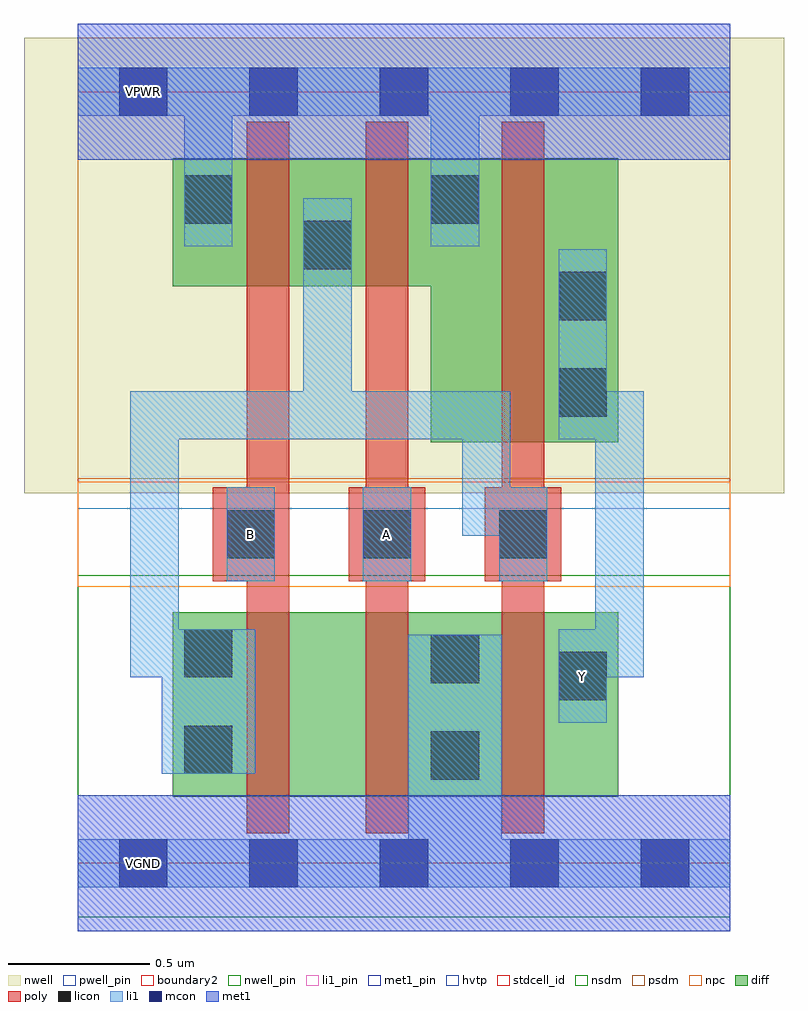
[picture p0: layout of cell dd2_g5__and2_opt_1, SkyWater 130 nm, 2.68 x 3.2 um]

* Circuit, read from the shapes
.subckt dd2_g5__and2_opt_1 A B VGND VNB VPB VPWR Y
XM1 n1 B n2 VNB sky130_fd_pr__nfet_01v8 w=0.65 l=0.15
XM2 VGND A n1 VNB sky130_fd_pr__nfet_01v8 w=0.65 l=0.15
XM3 Y n2 VGND VNB sky130_fd_pr__nfet_01v8 w=0.65 l=0.15
XM4 n2 B VPWR VPB sky130_fd_pr__pfet_01v8_hvt w=0.45 l=0.15
XM5 VPWR A n2 VPB sky130_fd_pr__pfet_01v8_hvt w=0.45 l=0.15
XM6 Y n2 VPWR VPB sky130_fd_pr__pfet_01v8_hvt w=1 l=0.15
.ends

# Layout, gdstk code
import gdstk
lib = gdstk.Library(unit=1e-6, precision=1e-09)
def R(c, l, rs):  # rectangles x0, y0, x1, y1
    for r in rs: c.add(gdstk.rectangle(r[:2], r[2:], *l))
def A(c, l, x, y, w, h, nx, ny, dx, dy):  # array of equal rectangles
    R(c, l, [(x+i*dx, y+j*dy, x+i*dx+w, y+j*dy+h) for i in range(nx) for j in range(ny)])
nwell_pin = (64, 16)
nwell = (64, 20)
diff = (65, 20)
poly = (66, 20)
licon = (66, 44)
li1_pin = (67, 16)
li1 = (67, 20)
mcon = (67, 44)
met1_pin = (68, 16)
met1 = (68, 20)
hvtp = (78, 44)
stdcell_id = (81, 4)
nsdm = (93, 44)
psdm = (94, 20)
npc = (95, 20)
pwell_pin = (122, 16)
boundary2 = (236, 0)

dd2_g5__and2_opt_1 = lib.new_cell('dd2_g5__and2_opt_1')
R(dd2_g5__and2_opt_1, nwell_pin, [(0.145,2.635,0.315,2.805)])
R(dd2_g5__and2_opt_1, nwell, [(-0.19,1.305,2.49,2.91)])
R(dd2_g5__and2_opt_1, diff, [(0.335,0.235,1.09,0.885), (0.67,0.235,1.57,0.885), (1.09,0.235,1.905,0.885), (1.245,1.485,1.905,2.485), (0.335,2.035,1.09,2.485), (0.67,2.035,1.57,2.485)])
A(dd2_g5__and2_opt_1, poly, 0.475, 0.995, 0.27, 0.33, 3, 1, 0.48, 0)
R(dd2_g5__and2_opt_1, poly, [(0.595,0.105,0.745,2.615), (1.015,0.105,1.165,2.615), (1.495,0.105,1.645,2.615)])
A(dd2_g5__and2_opt_1, licon, 0.525, 1.075, 0.17, 0.17, 3, 1, 0.48, 0)
R(dd2_g5__and2_opt_1, licon, [(1.245,0.295,1.415,0.465), (0.375,0.315,0.545,0.485), (1.695,0.575,1.865,0.745), (1.245,0.635,1.415,0.805), (0.375,0.655,0.545,0.825), (1.695,1.575,1.865,1.745), (1.695,1.915,1.865,2.085), (0.795,2.095,0.965,2.265), (0.375,2.255,0.545,2.425), (1.245,2.255,1.415,2.425)])
R(dd2_g5__and2_opt_1, li1_pin, [(0.145,-0.085,0.315,0.085), (1.705,0.585,1.855,0.735), (0.535,1.085,0.685,1.235), (1.015,1.085,1.165,1.235), (0.145,2.635,0.315,2.805)])
R(dd2_g5__and2_opt_1, li1, [(0,-0.085,2.3,0.085), (1.165,0.085,1.495,0.805), (0.295,0.315,0.625,0.655), (1.695,0.495,1.865,0.655), (0.185,0.655,0.625,0.825), (1.695,0.655,1.995,0.825), (0.185,0.825,0.355,1.495), (1.825,0.825,1.995,1.495), (0.525,0.995,0.695,1.325), (1.005,0.995,1.175,1.325), (1.485,0.995,1.655,1.155), (1.355,1.155,1.655,1.325), (1.355,1.325,1.525,1.495), (0.185,1.495,1.525,1.665), (1.695,1.495,1.995,1.665), (0.795,1.665,0.965,2.345), (1.695,1.665,1.865,2.165), (0.375,2.175,0.545,2.635), (1.245,2.175,1.415,2.635), (0,2.635,2.3,2.805)])
A(dd2_g5__and2_opt_1, mcon, 0.145, -0.085, 0.17, 0.17, 5, 2, 0.46, 2.72)
R(dd2_g5__and2_opt_1, met1_pin, [(0.145,-0.085,0.315,0.085), (0.145,2.635,0.315,2.805)])
R(dd2_g5__and2_opt_1, met1, [(0,-0.24,2.3,0.24), (0,2.48,2.3,2.96)])
R(dd2_g5__and2_opt_1, hvtp, [(0,1.25,2.3,2.72)])
R(dd2_g5__and2_opt_1, stdcell_id, [(0,0,2.3,2.72)])
R(dd2_g5__and2_opt_1, nsdm, [(0,-0.19,2.3,1.015)])
R(dd2_g5__and2_opt_1, psdm, [(0,1.355,2.3,2.91)])
R(dd2_g5__and2_opt_1, npc, [(0,0.975,2.3,1.345)])
R(dd2_g5__and2_opt_1, pwell_pin, [(0.145,-0.085,0.315,0.085)])
R(dd2_g5__and2_opt_1, boundary2, [(0,0,2.3,2.72)])
dd2_g5__and2_opt_1.add(gdstk.Label('VPWR', (0.23,2.72), layer=68, texttype=5))
dd2_g5__and2_opt_1.add(gdstk.Label('VGND', (0.23,0), layer=68, texttype=5))
dd2_g5__and2_opt_1.add(gdstk.Label('VPWR', (0.23,2.72), layer=67, texttype=5))
dd2_g5__and2_opt_1.add(gdstk.Label('VGND', (0.23,0), layer=67, texttype=5))
dd2_g5__and2_opt_1.add(gdstk.Label('A', (1.09,1.16), layer=67, texttype=5))
dd2_g5__and2_opt_1.add(gdstk.Label('B', (0.61,1.16), layer=67, texttype=5))
dd2_g5__and2_opt_1.add(gdstk.Label('Y', (1.78,0.66), layer=67, texttype=5))
dd2_g5__and2_opt_1.add(gdstk.Label('VPB', (0.23,2.72), layer=64, texttype=5))
dd2_g5__and2_opt_1.add(gdstk.Label('VNB', (0.23,0), layer=64, texttype=59))

lib.write_gds('dd2_g5__and2_opt_1.gds')
